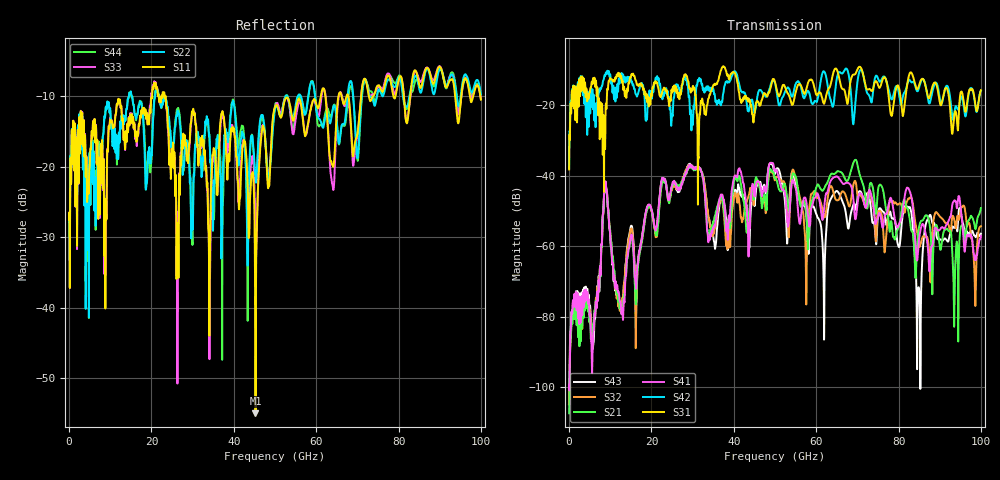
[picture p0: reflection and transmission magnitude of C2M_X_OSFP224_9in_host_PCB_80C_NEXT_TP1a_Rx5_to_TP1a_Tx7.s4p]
# GHz S RI R 45
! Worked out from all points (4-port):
!   4000 points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, 25 MHz to 100 GHz, reference 45 ohm
!   strongest paths, dB at 25 MHz, 25.02 GHz, 50.02 GHz, 75.03 GHz, 100 GHz:
!     S31: -38.2, -16.4, -13.5, -14.4, -15.8
!     S42: -38.0, -22.6, -13.7, -12.5, -15.9
!     S41: -99.5, -42.9, -38.7, -51.7, -57.0
!     S21: -107.4, -43.5, -40.8, -44.0, -49.2
!     S32: -104.9, -43.9, -41.3, -50.3, -54.3
!     S43: -104.8, -43.2, -39.4, -51.0, -56.5
!   lowest |S11| = -54.9 dB at 45.27 GHz (marker M1), VSWR 1.00, Z = 44.9 - j0.133 ohm
!   |S11| at or under -10 dB: start of sweep to 20.16 GHz; 23.46 GHz to 61.11 GHz (37.65 GHz wide, 89 % of centre); 62.26 GHz to 65.41 GHz (3.155 GHz wide, 4.94 % of centre) (the widest 3 of 14)
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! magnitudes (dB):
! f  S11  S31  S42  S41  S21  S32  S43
! 25 MHz  -27.5  -38.2  -38.0  -99.5  -107.4  -104.9  -104.8
! 6.25 GHz  -13.7  -12.7  -20.4  -79.1  -78.1  -78.4  -80.1
! 8.875 GHz  -30.1  -21.5  -11.1  -41.7  -41.8  -41.8  -41.7
! 12.7 GHz  -11.4  -12.0  -11.4  -78.8  -79.1  -77.7  -78.6
! 22.88 GHz  -9.7  -15.6  -16.5  -40.8  -41.5  -41.6  -40.8
! 45.27 GHz  -54.9  -20.1  -21.1  -43.6  -41.1  -41.7  -45.9
! 100 GHz  -10.4  -15.8  -15.9  -57.0  -49.2  -54.3  -56.5
